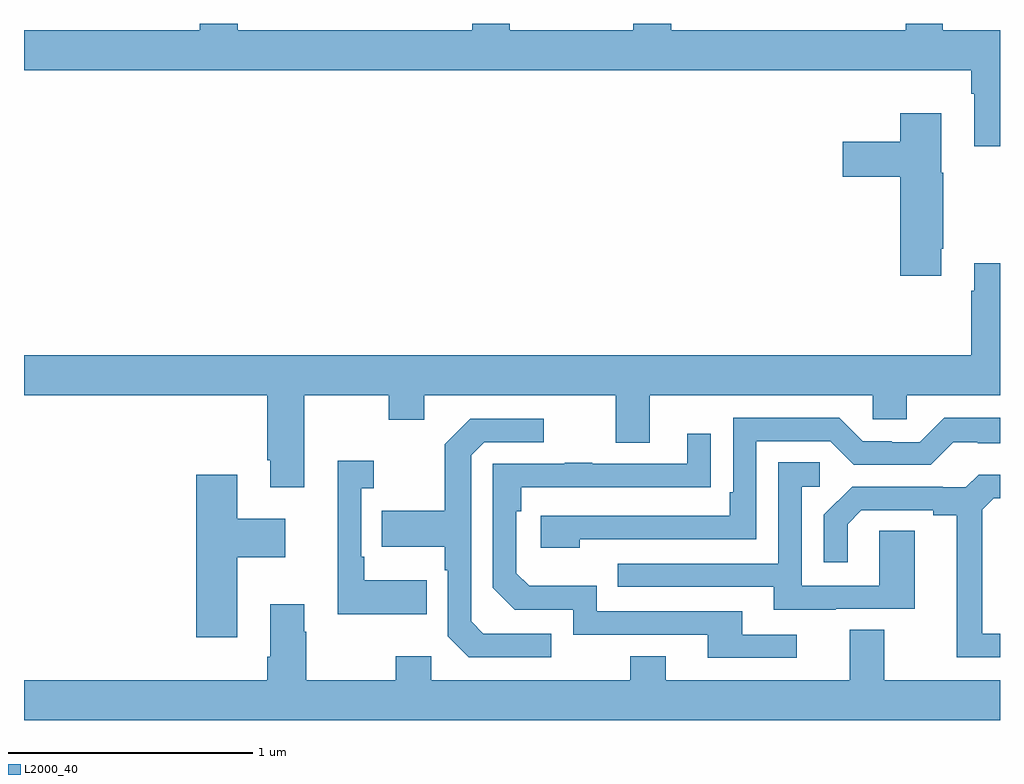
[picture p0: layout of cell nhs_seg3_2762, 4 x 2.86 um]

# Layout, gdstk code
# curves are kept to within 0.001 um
import gdstk
lib = gdstk.Library(unit=1e-6, precision=1e-09)
def P(c, l, *ps):  # polygons
    for p in ps: c.add(gdstk.Polygon(p, *l))
L2000_40 = (2000, 40)

nhs_seg3_2762 = lib.new_cell('nhs_seg3_2762')
P(nhs_seg3_2762, L2000_40, [(257,742.372),(256.766,742.372),(256.766,742.4),(256.613,742.4),(256.613,742.372),(255.653,742.372),(255.653,742.4),(255.497,742.4),(255.497,742.372),(254.99,742.372),(254.99,742.4),(254.837,742.4),(254.837,742.372),(253.877,742.372),(253.877,742.4),(253.721,742.4),(253.721,742.372),(253,742.372),(253,742.208),(256.883,742.208),(256.883,742.112),(256.895,742.112),(256.895,741.897),(257,741.897)],
  [(256.759,741.478),(256.767,741.478),(256.767,741.789),(256.759,741.789),(256.759,742.033),(256.592,742.033),(256.592,741.915),(256.356,741.915),(256.356,741.773),(256.592,741.773),(256.592,741.366),(256.759,741.366)],
  [(253,740.876),(253.997,740.876),(253.997,740.611),(254.009,740.611),(254.009,740.499),(254.149,740.499),(254.149,740.876),(254.494,740.876),(254.494,740.777),(254.641,740.777),(254.641,740.876),(255.425,740.876),(255.425,740.682),(255.565,740.682),(255.565,740.876),(256.479,740.876),(256.479,740.778),(256.617,740.778),(256.617,740.876),(257,740.876),(257,741.418),(256.895,741.418),(256.895,741.305),(256.883,741.305),(256.883,741.04),(253,741.04)],
  [(255.278,740.286),(256.002,740.286),(256.002,740.688),(256.305,740.688),(256.401,740.592),(256.716,740.592),(256.809,740.685),(256.909,740.685),(256.909,740.681),(257,740.681),(257,740.785),(256.771,740.785),(256.671,740.685),(256.556,740.685),(256.556,740.688),(256.437,740.688),(256.341,740.784),(255.906,740.784),(255.906,740.479),(255.893,740.479),(255.893,740.382),(255.117,740.382),(255.117,740.252),(255.278,740.252)],
  [(255.16,739.899),(254.883,739.899),(254.832,739.95),(254.832,740.631),(254.886,740.685),(255.13,740.685),(255.13,740.781),(254.829,740.781),(254.724,740.675),(254.724,740.403),(254.467,740.403),(254.467,740.255),(254.724,740.255),(254.724,740.159),(254.736,740.159),(254.736,739.89),(254.823,739.803),(255.16,739.803)],
  [(256.168,739.896),(255.943,739.896),(255.943,739.992),(255.348,739.992),(255.348,740.095),(255.071,740.095),(255.018,740.148),(255.018,740.402),(255.038,740.402),(255.038,740.499),(255.815,740.5),(255.815,740.719),(255.719,740.719),(255.719,740.595),(255.329,740.595),(255.329,740.6),(255.217,740.6),(255.217,740.595),(254.922,740.595),(254.922,740.088),(255.012,739.998),(255.252,739.998),(255.252,739.896),(255.803,739.896),(255.803,739.8),(256.168,739.8)],
  [(254.651,740.119),(254.395,740.119),(254.395,740.215),(254.382,740.215),(254.382,740.495),(254.434,740.495),(254.434,740.608),(254.285,740.608),(254.285,739.979),(254.651,739.979)],
  [(256.327,740.001),(256.651,740.001),(256.651,740.321),(256.506,740.321),(256.506,740.097),(256.188,740.097),(256.188,740.502),(256.261,740.502),(256.261,740.603),(256.092,740.603),(256.092,740.187),(255.433,740.187),(255.433,740.091),(256.073,740.091),(256.073,739.997),(256.327,739.997)],
  [(257,739.899),(256.927,739.899),(256.927,740.407),(256.974,740.454),(257,740.454),(257,740.551),(256.912,740.551),(256.86,740.499),(256.766,740.499),(256.766,740.502),(256.394,740.502),(256.278,740.386),(256.278,740.193),(256.375,740.193),(256.375,740.349),(256.432,740.406),(256.727,740.406),(256.727,740.384),(256.823,740.384),(256.823,739.803),(257,739.803)],
  [(253.873,740.213),(254.071,740.213),(254.071,740.371),(253.873,740.371),(253.873,740.551),(253.706,740.551),(253.706,739.884),(253.873,739.884)],
  [(257,739.708),(256.525,739.708),(256.525,739.916),(256.385,739.916),(256.385,739.708),(255.631,739.708),(255.631,739.807),(255.484,739.807),(255.484,739.708),(254.67,739.708),(254.67,739.807),(254.524,739.807),(254.524,739.708),(254.157,739.708),(254.157,739.907),(254.149,739.907),(254.149,740.02),(254.009,740.02),(254.009,739.804),(253.997,739.804),(253.997,739.708),(253,739.708),(253,739.544),(257,739.544)])

lib.write_gds('nhs_seg3_2762.gds')
